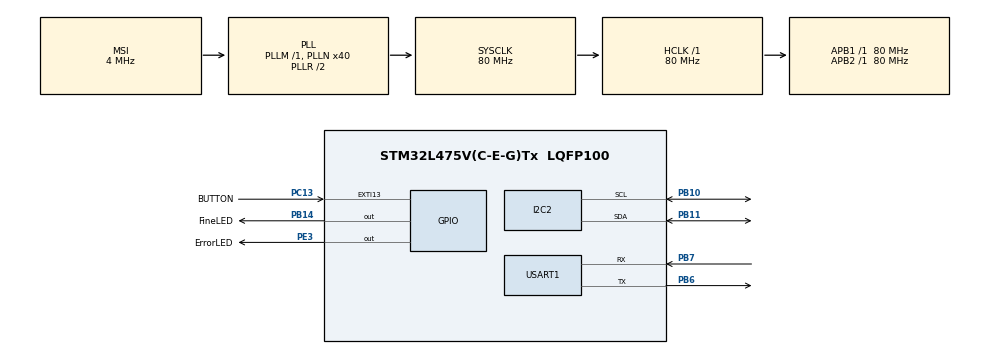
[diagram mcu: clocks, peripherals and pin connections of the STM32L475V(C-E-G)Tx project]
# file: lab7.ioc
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FREERTOS.Tasks01=buttonInterrupt,0,128,StartButtonInterrupt,Default,NULL,Dynamic,NULL,NULL;readSensors,0,128,StartReadSensors,Default,NULL,Dynamic,NULL,NULL;TransmitReading,0,128,StartTransmitReading,Default,NULL,Dynamic,NULL,NULL
I2C2.Timing=0x10909CEC
Mcu.Family=STM32L4
Mcu.Name=STM32L475V(C-E-G)Tx
Mcu.Package=LQFP100
NVIC.EXTI15_10_IRQn=true\:0\:0\:false\:false\:true\:false\:true\:true
NVIC.PriorityGroup=NVIC_PRIORITYGROUP_4
NVIC.TIM6_DAC_IRQn=true\:0\:0\:false\:false\:true\:false\:false\:true
NVIC.TimeBase=TIM6_DAC_IRQn
NVIC.TimeBaseIP=TIM6
PB10.Mode=I2C
PB10.Signal=I2C2_SCL
PB11.Mode=I2C
PB11.Signal=I2C2_SDA
PB14.GPIO_Label=FineLED
PB14.Signal=GPIO_Output
PB6.Mode=Asynchronous
PB6.Signal=USART1_TX
PB7.Mode=Asynchronous
PB7.Signal=USART1_RX
PC13.GPIO_Label=BUTTON
PC13.GPIO_ModeDefaultEXTI=GPIO_MODE_IT_FALLING
PC13.Signal=GPXTI13
PE3.GPIO_Label=ErrorLED
PE3.Signal=GPIO_Output
ProjectManager.HeapSize=0x200
ProjectManager.StackSize=0x400
ProjectManager.TargetToolchain=STM32CubeIDE
RCC.ADCFreq_Value=48000000
RCC.AHBFreq_Value=80000000
RCC.APB1Freq_Value=80000000
RCC.APB1TimFreq_Value=80000000
RCC.APB2Freq_Value=80000000
RCC.APB2TimFreq_Value=80000000
RCC.CortexFreq_Value=80000000
RCC.HCLKFreq_Value=80000000
RCC.HSE_VALUE=8000000
RCC.HSI_VALUE=16000000
RCC.LSE_VALUE=32768
RCC.MSI_VALUE=4000000
RCC.PLLN=40
RCC.PLLSAI1N=24
RCC.SYSCLKFreq_VALUE=80000000
RCC.SYSCLKSource=RCC_SYSCLKSOURCE_PLLCLK
RCC.USBFreq_Value=48000000
RCC.VCOOutputFreq_Value=160000000
USART1.VirtualMode-Asynchronous=VM_ASYNC
VP_FREERTOS_VS_CMSIS_V1.Mode=CMSIS_V1
VP_SYS_VS_tim6.Mode=TIM6
board=B-L475E-IOT01A1

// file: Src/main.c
/* USER CODE BEGIN Header */
/**
  ******************************************************************************
  * @file           : main.c
  * @brief          : Main program body
  ******************************************************************************
  * @attention
  *
  * <h2><center>&copy; Copyright (c) 2020 STMicroelectronics.
  * All rights reserved.</center></h2>
  *
  * This software component is licensed by ST under BSD 3-Clause license,
  * the "License"; You may not use this file except in compliance with the
  * License. You may obtain a copy of the License at:
  *                        opensource.org/licenses/BSD-3-Clause
  *
  ******************************************************************************
  */
/* USER CODE END Header */
#include "main.h"
#include "cmsis_os.h"

/* USER CODE BEGIN Includes */
#include "stm32l475e_iot01.h"
#include "stm32l475e_iot01_accelero.h"
#include "stm32l475e_iot01_magneto.h"
#include "stm32l475e_iot01_psensor.h"
#include "stm32l475e_iot01_tsensor.h"
/* USER CODE END Includes */

I2C_HandleTypeDef hi2c2;

UART_HandleTypeDef huart1;

osThreadId buttonInterruptHandle;
osThreadId readSensorsHandle;
osThreadId TransmitReadingHandle;
/* USER CODE BEGIN PV */
int8_t sensor_count = 0;

int16_t ACCELERO_XYZ[3];
int16_t MAGNETO_XYZ[3];
float PRESSURE_VALUE;
float TEMP_VALUE;

char ACCELERO_BUFFER[100];
char MAGNETO_BUFFER[100];
char PRESSURE_BUFFER[100];
char TEMP_BUFFER[100];
/* USER CODE END PV */

void SystemClock_Config(void);
static void MX_GPIO_Init(void);
static void MX_I2C2_Init(void);
static void MX_USART1_UART_Init(void);
void StartButtonInterrupt(void const * argument);
void StartReadSensors(void const * argument);
void StartTransmitReading(void const * argument);

/* USER CODE BEGIN PFP */
void HAL_GPIO_EXTI_Callback(uint16_t GPIO_Pin);
/* USER CODE END PFP */

int main(void)
{

  /* MCU Configuration--------------------------------------------------------*/

  /* Reset of all peripherals, Initializes the Flash interface and the Systick. */
  HAL_Init();

  /* Configure the system clock */
  SystemClock_Config();

  /* Initialize all configured peripherals */
  MX_GPIO_Init();
  MX_I2C2_Init();
  MX_USART1_UART_Init();
  /* USER CODE BEGIN 2 */

  /* Initialize I2C sensors */
  BSP_ACCELERO_Init();
  BSP_MAGNETO_Init();
  BSP_PSENSOR_Init();
  BSP_TSENSOR_Init();

  /* Set low power mode for accelerometer and magnetometer */
  BSP_ACCELERO_LowPower(1);
  BSP_MAGNETO_LowPower(1);

  /* USER CODE END 2 */

  /* Create the thread(s) */
  /* definition and creation of buttonInterrupt */
  osThreadDef(buttonInterrupt, StartButtonInterrupt, osPriorityNormal, 0, 128);
  buttonInterruptHandle = osThreadCreate(osThread(buttonInterrupt), NULL);

  /* definition and creation of readSensors */
  osThreadDef(readSensors, StartReadSensors, osPriorityNormal, 0, 128);
  readSensorsHandle = osThreadCreate(osThread(readSensors), NULL);

  /* definition and creation of TransmitReading */
  osThreadDef(TransmitReading, StartTransmitReading, osPriorityNormal, 0, 128);
  TransmitReadingHandle = osThreadCreate(osThread(TransmitReading), NULL);

  /* Start scheduler */
  osKernelStart();

  /* We should never get here as control is now taken by the scheduler */
  /* Infinite loop */
  while (1)
  {

    /* USER CODE BEGIN 3 */
	  // read from the sensor
	  BSP_ACCELERO_AccGetXYZ(ACCELERO_XYZ);
	  BSP_MAGNETO_GetXYZ(MAGNETO_XYZ);
	  PRESSURE_VALUE = BSP_PSENSOR_ReadPressure();
	  TEMP_VALUE = BSP_TSENSOR_ReadTemp();

	  // add the values to the buffers
	  sprintf(ACCELERO_BUFFER, "\nAccelerometer values:\nX: %d\nY: %d\nZ: %d\n", ACCELERO_XYZ[0], ACCELERO_XYZ[1], ACCELERO_XYZ[2]);
	  sprintf(MAGNETO_BUFFER, "\nMagneto values:\nX: %d\nY: %d\nZ: %d\n", MAGNETO_XYZ[0], MAGNETO_XYZ[1], MAGNETO_XYZ[2]);
	  sprintf(PRESSURE_BUFFER, "\nPressure reading: %d\n", (int) PRESSURE_VALUE);
	  sprintf(TEMP_BUFFER, "\nTemperature reading: %d\n", (int) TEMP_VALUE);

	  // transmit buffer over USART1
	  HAL_UART_Transmit(&huart1, ACCELERO_BUFFER, 100, 30000);
	  HAL_UART_Transmit(&huart1, MAGNETO_BUFFER, 100, 30000);
	  HAL_UART_Transmit(&huart1, PRESSURE_BUFFER, 100, 30000);
	  HAL_UART_Transmit(&huart1, TEMP_BUFFER, 100, 30000);

	  // Delay to achieve 10 Hz sensor reading rate
	  HAL_Delay(100);
  }
  /* USER CODE END 3 */
}

void SystemClock_Config(void)
{
  RCC_OscInitTypeDef RCC_OscInitStruct = {0};
  RCC_ClkInitTypeDef RCC_ClkInitStruct = {0};
  RCC_PeriphCLKInitTypeDef PeriphClkInit = {0};

  /** Initializes the RCC Oscillators according to the specified parameters
  * in the RCC_OscInitTypeDef structure.
  */
  RCC_OscInitStruct.OscillatorType = RCC_OSCILLATORTYPE_MSI;
  RCC_OscInitStruct.MSIState = RCC_MSI_ON;
  RCC_OscInitStruct.MSICalibrationValue = 0;
  RCC_OscInitStruct.MSIClockRange = RCC_MSIRANGE_6;
  RCC_OscInitStruct.PLL.PLLState = RCC_PLL_ON;
  RCC_OscInitStruct.PLL.PLLSource = RCC_PLLSOURCE_MSI;
  RCC_OscInitStruct.PLL.PLLM = 1;
  RCC_OscInitStruct.PLL.PLLN = 40;
  RCC_OscInitStruct.PLL.PLLP = RCC_PLLP_DIV7;
  RCC_OscInitStruct.PLL.PLLQ = RCC_PLLQ_DIV2;
  RCC_OscInitStruct.PLL.PLLR = RCC_PLLR_DIV2;
  if (HAL_RCC_OscConfig(&RCC_OscInitStruct) != HAL_OK)
  {
    Error_Handler();
  }
  /** Initializes the CPU, AHB and APB buses clocks
  */
  RCC_ClkInitStruct.ClockType = RCC_CLOCKTYPE_HCLK|RCC_CLOCKTYPE_SYSCLK
                              |RCC_CLOCKTYPE_PCLK1|RCC_CLOCKTYPE_PCLK2;
  RCC_ClkInitStruct.SYSCLKSource = RCC_SYSCLKSOURCE_PLLCLK;
  RCC_ClkInitStruct.AHBCLKDivider = RCC_SYSCLK_DIV1;
  RCC_ClkInitStruct.APB1CLKDivider = RCC_HCLK_DIV1;
  RCC_ClkInitStruct.APB2CLKDivider = RCC_HCLK_DIV1;

  if (HAL_RCC_ClockConfig(&RCC_ClkInitStruct, FLASH_LATENCY_4) != HAL_OK)
  {
    Error_Handler();
  }
  PeriphClkInit.PeriphClockSelection = RCC_PERIPHCLK_USART1|RCC_PERIPHCLK_I2C2;
  PeriphClkInit.Usart1ClockSelection = RCC_USART1CLKSOURCE_PCLK2;
  PeriphClkInit.I2c2ClockSelection = RCC_I2C2CLKSOURCE_PCLK1;
  if (HAL_RCCEx_PeriphCLKConfig(&PeriphClkInit) != HAL_OK)
  {
    Error_Handler();
  }
  /** Configure the main internal regulator output voltage
  */
  if (HAL_PWREx_ControlVoltageScaling(PWR_REGULATOR_VOLTAGE_SCALE1) != HAL_OK)
  {
    Error_Handler();
  }
}

static void MX_I2C2_Init(void)
{

  hi2c2.Instance = I2C2;
  hi2c2.Init.Timing = 0x10909CEC;
  hi2c2.Init.OwnAddress1 = 0;
  hi2c2.Init.AddressingMode = I2C_ADDRESSINGMODE_7BIT;
  hi2c2.Init.DualAddressMode = I2C_DUALADDRESS_DISABLE;
  hi2c2.Init.OwnAddress2 = 0;
  hi2c2.Init.OwnAddress2Masks = I2C_OA2_NOMASK;
  hi2c2.Init.GeneralCallMode = I2C_GENERALCALL_DISABLE;
  hi2c2.Init.NoStretchMode = I2C_NOSTRETCH_DISABLE;
  if (HAL_I2C_Init(&hi2c2) != HAL_OK)
  {
    Error_Handler();
  }
  /** Configure Analogue filter
  */
  if (HAL_I2CEx_ConfigAnalogFilter(&hi2c2, I2C_ANALOGFILTER_ENABLE) != HAL_OK)
  {
    Error_Handler();
  }
  /** Configure Digital filter
  */
  if (HAL_I2CEx_ConfigDigitalFilter(&hi2c2, 0) != HAL_OK)
  {
    Error_Handler();
  }

}

static void MX_USART1_UART_Init(void)
{

  huart1.Instance = USART1;
  huart1.Init.BaudRate = 115200;
  huart1.Init.WordLength = UART_WORDLENGTH_8B;
  huart1.Init.StopBits = UART_STOPBITS_1;
  huart1.Init.Parity = UART_PARITY_NONE;
  huart1.Init.Mode = UART_MODE_TX_RX;
  huart1.Init.HwFlowCtl = UART_HWCONTROL_NONE;
  huart1.Init.OverSampling = UART_OVERSAMPLING_16;
  huart1.Init.OneBitSampling = UART_ONE_BIT_SAMPLE_DISABLE;
  huart1.AdvancedInit.AdvFeatureInit = UART_ADVFEATURE_NO_INIT;
  if (HAL_UART_Init(&huart1) != HAL_OK)
  {
    Error_Handler();
  }

}

static void MX_GPIO_Init(void)
{
  GPIO_InitTypeDef GPIO_InitStruct = {0};

  /* GPIO Ports Clock Enable */
  __HAL_RCC_GPIOE_CLK_ENABLE();
  __HAL_RCC_GPIOC_CLK_ENABLE();
  __HAL_RCC_GPIOB_CLK_ENABLE();

  /*Configure GPIO pin Output Level */
  HAL_GPIO_WritePin(ErrorLED_GPIO_Port, ErrorLED_Pin, GPIO_PIN_RESET);

  /*Configure GPIO pin Output Level */
  HAL_GPIO_WritePin(FineLED_GPIO_Port, FineLED_Pin, GPIO_PIN_RESET);

  /*Configure GPIO pin : ErrorLED_Pin */
  GPIO_InitStruct.Pin = ErrorLED_Pin;
  GPIO_InitStruct.Mode = GPIO_MODE_OUTPUT_PP;
  GPIO_InitStruct.Pull = GPIO_NOPULL;
  GPIO_InitStruct.Speed = GPIO_SPEED_FREQ_LOW;
  HAL_GPIO_Init(ErrorLED_GPIO_Port, &GPIO_InitStruct);

  /*Configure GPIO pin : BUTTON_Pin */
  GPIO_InitStruct.Pin = BUTTON_Pin;
  GPIO_InitStruct.Mode = GPIO_MODE_IT_FALLING;
  GPIO_InitStruct.Pull = GPIO_NOPULL;
  HAL_GPIO_Init(BUTTON_GPIO_Port, &GPIO_InitStruct);

  /*Configure GPIO pin : FineLED_Pin */
  GPIO_InitStruct.Pin = FineLED_Pin;
  GPIO_InitStruct.Mode = GPIO_MODE_OUTPUT_PP;
  GPIO_InitStruct.Pull = GPIO_NOPULL;
  GPIO_InitStruct.Speed = GPIO_SPEED_FREQ_LOW;
  HAL_GPIO_Init(FineLED_GPIO_Port, &GPIO_InitStruct);

  /* EXTI interrupt init*/
  HAL_NVIC_SetPriority(EXTI15_10_IRQn, 0, 0);
  HAL_NVIC_EnableIRQ(EXTI15_10_IRQn);

}

/* USER CODE BEGIN 4 */
//void HAL_GPIO_EXTI_Callback(uint16_t GPIO_Pin) {
//	if (GPIO_Pin == BUTTON_Pin) {
//		sensor_count++;
//		if (sensor_count > 3) {
//			sensor_count = 0;
//		}
//		if (sensor_count == 0) {
//			sprintf(ACCELERO_BUFFER, "\nAccelerometer values:\nX: %d\nY: %d\nZ: %d\n", ACCELERO_XYZ[0], ACCELERO_XYZ[1], ACCELERO_XYZ[2]);
//			HAL_UART_Transmit(&huart1, ACCELERO_BUFFER, 100, 30000);
//		}
//		else if (sensor_count == 1) {
//			sprintf(MAGNETO_BUFFER, "\nMagneto values:\nX: %d\nY: %d\nZ: %d\n", MAGNETO_XYZ[0], MAGNETO_XYZ[1], MAGNETO_XYZ[2]);
//			HAL_UART_Transmit(&huart1, MAGNETO_BUFFER, 100, 30000);
//		}
//		else if (sensor_count == 2) {
//			sprintf(PRESSURE_BUFFER, "\nPressure reading: %d\n", (int) PRESSURE_VALUE);
//			HAL_UART_Transmit(&huart1, PRESSURE_BUFFER, 100, 30000);
//		}
//		else {
//			sprintf(TEMP_BUFFER, "\nTemperature reading: %d\n", (int) TEMP_VALUE);
//			HAL_UART_Transmit(&huart1, TEMP_BUFFER, 100, 30000);
//		}
//	}
//}
/* USER CODE END 4 */

void StartButtonInterrupt(void const * argument)
{
  /* USER CODE BEGIN 5 */
  /* Infinite loop */
  for(;;) {
	  // Poll to check if the button is pressed
	  osDelay(200);
	  if (HAL_GPIO_ReadPin(BUTTON_GPIO_Port, BUTTON_Pin) == GPIO_PIN_RESET) {
		  sensor_count++;
		  if (sensor_count == 4) {
			  sensor_count = 0;
		  }
	  }
  }
  /* USER CODE END 5 */
}

void StartReadSensors(void const * argument)
{
  /* USER CODE BEGIN StartReadSensors */
  /* Infinite loop */
  for(;;) {
	  osDelay(50);
	  if (sensor_count == 0) {
		  BSP_ACCELERO_AccGetXYZ(ACCELERO_XYZ);
	  }
	  else if (sensor_count == 1) {
		  BSP_MAGNETO_GetXYZ(MAGNETO_XYZ);
	  }
	  else if (sensor_count == 2) {
		  PRESSURE_VALUE = BSP_PSENSOR_ReadPressure();
	  }
	  else if (sensor_count == 3) {
		  TEMP_VALUE = BSP_TSENSOR_ReadTemp();
	  }
  }
  /* USER CODE END StartReadSensors */
}

void StartTransmitReading(void const * argument)
{
  /* USER CODE BEGIN StartTransmitReading */
  /* Infinite loop */
  for(;;) {
	  osDelay(50);
	  if (sensor_count == 0) {
		  sprintf(ACCELERO_BUFFER, "\nAccelerometer values:\nX: %d\nY: %d\nZ: %d\n", ACCELERO_XYZ[0], ACCELERO_XYZ[1], ACCELERO_XYZ[2]);
		  HAL_UART_Transmit(&huart1, ACCELERO_BUFFER, 100, 30000);
	  }
	  else if (sensor_count == 1) {
		  sprintf(MAGNETO_BUFFER, "\nMagneto values:\nX: %d\nY: %d\nZ: %d\n", MAGNETO_XYZ[0], MAGNETO_XYZ[1], MAGNETO_XYZ[2]);
		  HAL_UART_Transmit(&huart1, MAGNETO_BUFFER, 100, 30000);
	  }
	  else if (sensor_count == 2) {
		  sprintf(PRESSURE_BUFFER, "\nPressure reading: %d\n", (int) PRESSURE_VALUE);
		  HAL_UART_Transmit(&huart1, PRESSURE_BUFFER, 100, 30000);
	  }
	  else if (sensor_count == 3) {
		  sprintf(TEMP_BUFFER, "\nTemperature reading: %d\n", (int) TEMP_VALUE);
		  HAL_UART_Transmit(&huart1, TEMP_BUFFER, 100, 30000);
	  }
  }
  /* USER CODE END StartTransmitReading */
}

void HAL_TIM_PeriodElapsedCallback(TIM_HandleTypeDef *htim)
{
  if (htim->Instance == TIM6) {
    HAL_IncTick();
  }
}

void Error_Handler(void)
{
}

/************************ (C) COPYRIGHT STMicroelectronics *****END OF FILE****/
